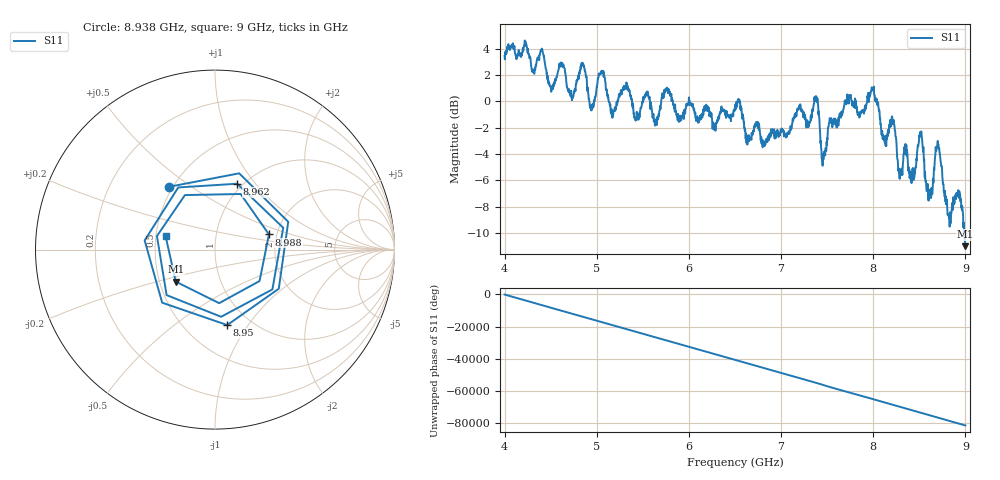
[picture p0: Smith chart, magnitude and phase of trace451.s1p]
! Created with skrf 1.8.0 (http://scikit-rf.org).
# Hz S RI R 50.0
!freq ReS11 ImS11
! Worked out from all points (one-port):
!   1601 points, 4 GHz to 9 GHz, reference 50 ohm
!   lowest |S11| = -11.0 dB at 8.997 GHz (marker M1), VSWR 1.79, Z = 30.3 - j11.8 ohm
!   |S11| at or under -10 dB: 8.987431 GHz to end of sweep
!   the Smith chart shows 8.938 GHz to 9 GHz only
!   S11 on the Smith chart (normalised r, x): 8.938 GHz: 0.48, +0.41; 8.95 GHz: 0.78, -0.80; 8.962 GHz: 0.94, +0.81; 8.988 GHz: 1.82, +0.34; 9 GHz: 0.56, +0.09
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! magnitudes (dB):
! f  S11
! 4 GHz  3.5
! 4.625 GHz  2.9
! 4.728 GHz  0.3
! 4.856 GHz  2.6
! 4.944 GHz  -0.3
! 5.047 GHz  2.3
! 5.25 GHz  0.6
! 5.875 GHz  -1.0
! 6.5 GHz  -0.6
! 6.812 GHz  -3.3
! 7.125 GHz  -1.4
! 7.378 GHz  0.4
! 7.466 GHz  -3.8
! 7.75 GHz  0.5
! 7.994 GHz  1.0
! 8.222 GHz  -1.4
! 8.291 GHz  -5.4
! 8.375 GHz  -4.6
! 8.519 GHz  -2.4
! 8.619 GHz  -6.7
! 8.7 GHz  -3.0
! 8.822 GHz  -8.9
! 8.938 GHz  -7.2
! 8.95 GHz  -7.4
! 8.962 GHz  -8.2
! 8.988 GHz  -10.1
! 8.997 GHz  -11.0
! 9 GHz  -10.9
